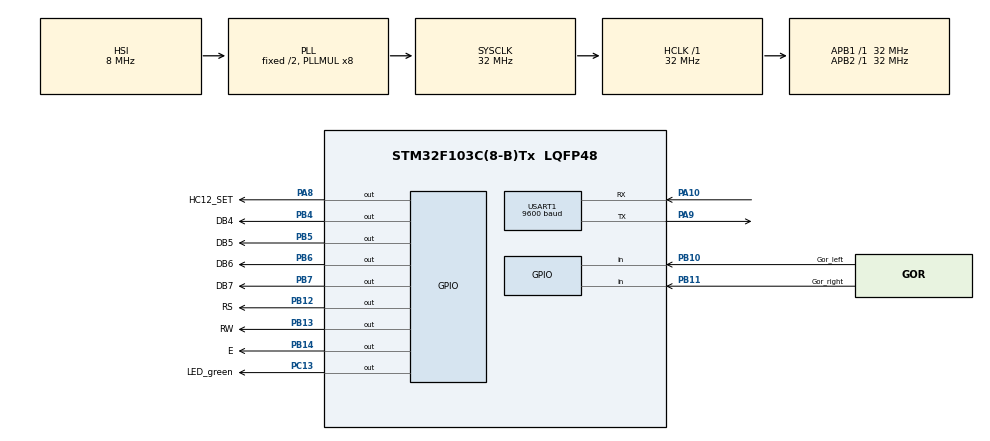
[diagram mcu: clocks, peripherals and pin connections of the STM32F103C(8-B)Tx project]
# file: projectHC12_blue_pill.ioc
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FREERTOS.Tasks01=defaultTask,0,128,StartDefaultTask,Default,NULL,Dynamic,NULL,NULL
Mcu.Family=STM32F1
Mcu.Name=STM32F103C(8-B)Tx
Mcu.Package=LQFP48
NVIC.PriorityGroup=NVIC_PRIORITYGROUP_4
NVIC.TIM4_IRQn=true\:0\:0\:false\:false\:true\:false\:false\:true
NVIC.TimeBase=TIM4_IRQn
NVIC.TimeBaseIP=TIM4
NVIC.USART1_IRQn=true\:5\:0\:false\:false\:true\:true\:true\:true
PA10.Mode=Asynchronous
PA10.Signal=USART1_RX
PA13.Mode=Serial_Wire
PA13.Signal=SYS_JTMS-SWDIO
PA14.Mode=Serial_Wire
PA14.Signal=SYS_JTCK-SWCLK
PA8.GPIO_Label=HC12_SET
PA8.PinState=GPIO_PIN_SET
PA8.Signal=GPIO_Output
PA9.Mode=Asynchronous
PA9.Signal=USART1_TX
PB10.GPIO_Label=Gor_left
PB10.GPIO_PuPd=GPIO_PULLDOWN
PB10.Signal=GPIO_Input
PB11.GPIO_Label=Gor_right
PB11.GPIO_PuPd=GPIO_PULLDOWN
PB11.Signal=GPIO_Input
PB12.GPIO_Label=RS
PB12.Signal=GPIO_Output
PB13.GPIO_Label=RW
PB13.Signal=GPIO_Output
PB14.GPIO_Label=E
PB14.Signal=GPIO_Output
PB4.GPIO_Label=DB4
PB4.Signal=GPIO_Output
PB5.GPIO_Label=DB5
PB5.Signal=GPIO_Output
PB6.GPIO_Label=DB6
PB6.Signal=GPIO_Output
PB7.GPIO_Label=DB7
PB7.Signal=GPIO_Output
PC13-TAMPER-RTC.GPIO_Label=LED_green
PC13-TAMPER-RTC.Signal=GPIO_Output
ProjectManager.HeapSize=0x200
ProjectManager.StackSize=0x400
ProjectManager.TargetToolchain=MDK-ARM V5.27
RCC.AHBFreq_Value=32000000
RCC.APB1Freq_Value=32000000
RCC.APB1TimFreq_Value=32000000
RCC.APB2Freq_Value=32000000
RCC.APB2TimFreq_Value=32000000
RCC.HCLKFreq_Value=32000000
RCC.PLLMUL=RCC_PLL_MUL8
RCC.SYSCLKFreq_VALUE=32000000
RCC.SYSCLKSource=RCC_SYSCLKSOURCE_PLLCLK
RCC.USBFreq_Value=32000000
USART1.BaudRate=9600
USART1.VirtualMode=VM_ASYNC
VP_FREERTOS_VS_CMSIS_V1.Mode=CMSIS_V1
VP_SYS_VS_tim4.Mode=TIM4
VP_TIM2_VS_ClockSourceINT.Mode=Internal
VP_TIM2_VS_OPM.Mode=OPM_bit
board=custom

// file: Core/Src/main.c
/* USER CODE BEGIN Header */
/**
  ******************************************************************************
  * @file           : main.c
  * @brief          : Main program body
  ******************************************************************************
  * @attention
  *
  * <h2><center>&copy; Copyright (c) 2020 STMicroelectronics.
  * All rights reserved.</center></h2>
  *
  * This software component is licensed by ST under Ultimate Liberty license
  * SLA0044, the "License"; You may not use this file except in compliance with
  * the License. You may obtain a copy of the License at:
  *                             www.st.com/SLA0044
  *
  ******************************************************************************
  */
/* USER CODE END Header */

#include "main.h"
#include "cmsis_os.h"

TIM_HandleTypeDef htim2;

UART_HandleTypeDef huart1;

osThreadId defaultTaskHandle;

void SystemClock_Config(void);
static void MX_GPIO_Init(void);
static void MX_TIM2_Init(void);
static void MX_USART1_UART_Init(void);
void StartDefaultTask(void const * argument);

/* USER CODE BEGIN PFP */

void	signal(uint8_t freq);

/* USER CODE END PFP */

int main(void)
{

  /* MCU Configuration--------------------------------------------------------*/

  /* Reset of all peripherals, Initializes the Flash interface and the Systick. */
  HAL_Init();

  /* Configure the system clock */
  SystemClock_Config();

  /* Initialize all configured peripherals */
  MX_GPIO_Init();
  MX_TIM2_Init();
  MX_USART1_UART_Init();
  /* USER CODE BEGIN 2 */

	delay_ms_init();

	#ifdef	USING_LCD
	HD44780_init();

	USART1->CR1 |= USART_CR1_RXNEIE;
	#endif	//USING_LCD

		//doesn't working
//	WEH1602_RS(RESET_LCD);
//	WEH1602_DB7(RESET_LCD);		//cursor and display shift
//	WEH1602_DB6(RESET_LCD);
//	WEH1602_DB5(RESET_LCD);
//	WEH1602_DB4(SET_LCD);
//	WEH1602_E_strobe();
//	WEH1602_DB7(SET_LCD);
//	WEH1602_DB6(SET_LCD);
//	WEH1602_DB5(RESET_LCD);
//	WEH1602_DB4(RESET_LCD);
//	WEH1602_E_strobe();
//	//WEH1602_RS(SET_LCD);
//	delay_ms(10);

		//signal init
	//SystemCoreClockUpdate();
//	TIM3->DIER |= TIM_DIER_UIE;
//	TIM3->PSC = SystemCoreClock/1000 - 1;
//	signal(1);

/*
*
*
*
*					Todo's
*
*
*			Turn off USART interrupt (now its turned on)
*
*
*/

  /* USER CODE END 2 */

  /* Create the thread(s) */
  /* definition and creation of defaultTask */
  osThreadDef(defaultTask, StartDefaultTask, osPriorityNormal, 0, 128);
  defaultTaskHandle = osThreadCreate(osThread(defaultTask), NULL);

  /* Start scheduler */
  osKernelStart();

  /* We should never get here as control is now taken by the scheduler */

  /* Infinite loop */
  while (1)
  {

  }
}

void SystemClock_Config(void)
{
  RCC_OscInitTypeDef RCC_OscInitStruct = {0};
  RCC_ClkInitTypeDef RCC_ClkInitStruct = {0};

  /** Initializes the CPU, AHB and APB busses clocks
  */
  RCC_OscInitStruct.OscillatorType = RCC_OSCILLATORTYPE_HSI;
  RCC_OscInitStruct.HSIState = RCC_HSI_ON;
  RCC_OscInitStruct.HSICalibrationValue = RCC_HSICALIBRATION_DEFAULT;
  RCC_OscInitStruct.PLL.PLLState = RCC_PLL_ON;
  RCC_OscInitStruct.PLL.PLLSource = RCC_PLLSOURCE_HSI_DIV2;
  RCC_OscInitStruct.PLL.PLLMUL = RCC_PLL_MUL8;
  if (HAL_RCC_OscConfig(&RCC_OscInitStruct) != HAL_OK)
  {
    Error_Handler();
  }
  /** Initializes the CPU, AHB and APB busses clocks
  */
  RCC_ClkInitStruct.ClockType = RCC_CLOCKTYPE_HCLK|RCC_CLOCKTYPE_SYSCLK
                              |RCC_CLOCKTYPE_PCLK1|RCC_CLOCKTYPE_PCLK2;
  RCC_ClkInitStruct.SYSCLKSource = RCC_SYSCLKSOURCE_PLLCLK;
  RCC_ClkInitStruct.AHBCLKDivider = RCC_SYSCLK_DIV1;
  RCC_ClkInitStruct.APB1CLKDivider = RCC_HCLK_DIV1;
  RCC_ClkInitStruct.APB2CLKDivider = RCC_HCLK_DIV1;

  if (HAL_RCC_ClockConfig(&RCC_ClkInitStruct, FLASH_LATENCY_1) != HAL_OK)
  {
    Error_Handler();
  }
}

static void MX_TIM2_Init(void)
{

  TIM_ClockConfigTypeDef sClockSourceConfig = {0};
  TIM_MasterConfigTypeDef sMasterConfig = {0};

  htim2.Instance = TIM2;
  htim2.Init.Prescaler = 0;
  htim2.Init.CounterMode = TIM_COUNTERMODE_UP;
  htim2.Init.Period = 0;
  htim2.Init.ClockDivision = TIM_CLOCKDIVISION_DIV1;
  htim2.Init.AutoReloadPreload = TIM_AUTORELOAD_PRELOAD_DISABLE;
  if (HAL_TIM_Base_Init(&htim2) != HAL_OK)
  {
    Error_Handler();
  }
  sClockSourceConfig.ClockSource = TIM_CLOCKSOURCE_INTERNAL;
  if (HAL_TIM_ConfigClockSource(&htim2, &sClockSourceConfig) != HAL_OK)
  {
    Error_Handler();
  }
  if (HAL_TIM_OnePulse_Init(&htim2, TIM_OPMODE_SINGLE) != HAL_OK)
  {
    Error_Handler();
  }
  sMasterConfig.MasterOutputTrigger = TIM_TRGO_RESET;
  sMasterConfig.MasterSlaveMode = TIM_MASTERSLAVEMODE_DISABLE;
  if (HAL_TIMEx_MasterConfigSynchronization(&htim2, &sMasterConfig) != HAL_OK)
  {
    Error_Handler();
  }

}

static void MX_USART1_UART_Init(void)
{

  huart1.Instance = USART1;
  huart1.Init.BaudRate = 9600;
  huart1.Init.WordLength = UART_WORDLENGTH_8B;
  huart1.Init.StopBits = UART_STOPBITS_1;
  huart1.Init.Parity = UART_PARITY_NONE;
  huart1.Init.Mode = UART_MODE_TX_RX;
  huart1.Init.HwFlowCtl = UART_HWCONTROL_NONE;
  huart1.Init.OverSampling = UART_OVERSAMPLING_16;
  if (HAL_UART_Init(&huart1) != HAL_OK)
  {
    Error_Handler();
  }

}

static void MX_GPIO_Init(void)
{
  GPIO_InitTypeDef GPIO_InitStruct = {0};

  /* GPIO Ports Clock Enable */
  __HAL_RCC_GPIOC_CLK_ENABLE();
  __HAL_RCC_GPIOB_CLK_ENABLE();
  __HAL_RCC_GPIOA_CLK_ENABLE();

  /*Configure GPIO pin Output Level */
  HAL_GPIO_WritePin(LED_green_GPIO_Port, LED_green_Pin, GPIO_PIN_RESET);

  /*Configure GPIO pin Output Level */
  HAL_GPIO_WritePin(GPIOB, RS_Pin|RW_Pin|E_Pin|DB4_Pin
                          |DB5_Pin|DB6_Pin|DB7_Pin, GPIO_PIN_RESET);

  /*Configure GPIO pin Output Level */
  HAL_GPIO_WritePin(HC12_SET_GPIO_Port, HC12_SET_Pin, GPIO_PIN_SET);

  /*Configure GPIO pin : LED_green_Pin */
  GPIO_InitStruct.Pin = LED_green_Pin;
  GPIO_InitStruct.Mode = GPIO_MODE_OUTPUT_PP;
  GPIO_InitStruct.Pull = GPIO_NOPULL;
  GPIO_InitStruct.Speed = GPIO_SPEED_FREQ_LOW;
  HAL_GPIO_Init(LED_green_GPIO_Port, &GPIO_InitStruct);

  /*Configure GPIO pins : Gor_left_Pin Gor_right_Pin */
  GPIO_InitStruct.Pin = Gor_left_Pin|Gor_right_Pin;
  GPIO_InitStruct.Mode = GPIO_MODE_INPUT;
  GPIO_InitStruct.Pull = GPIO_PULLDOWN;
  HAL_GPIO_Init(GPIOB, &GPIO_InitStruct);

  /*Configure GPIO pins : RS_Pin RW_Pin E_Pin DB4_Pin
                           DB5_Pin DB6_Pin DB7_Pin */
  GPIO_InitStruct.Pin = RS_Pin|RW_Pin|E_Pin|DB4_Pin
                          |DB5_Pin|DB6_Pin|DB7_Pin;
  GPIO_InitStruct.Mode = GPIO_MODE_OUTPUT_PP;
  GPIO_InitStruct.Pull = GPIO_NOPULL;
  GPIO_InitStruct.Speed = GPIO_SPEED_FREQ_LOW;
  HAL_GPIO_Init(GPIOB, &GPIO_InitStruct);

  /*Configure GPIO pin : HC12_SET_Pin */
  GPIO_InitStruct.Pin = HC12_SET_Pin;
  GPIO_InitStruct.Mode = GPIO_MODE_OUTPUT_PP;
  GPIO_InitStruct.Pull = GPIO_NOPULL;
  GPIO_InitStruct.Speed = GPIO_SPEED_FREQ_LOW;
  HAL_GPIO_Init(HC12_SET_GPIO_Port, &GPIO_InitStruct);

}

/* USER CODE BEGIN 4 */

void	signal(uint8_t freq)
{
	TIM3->ARR = 1000/freq/2;
	TIM3->CR1 |= TIM_CR1_CEN;
}

/* USER CODE END 4 */

void StartDefaultTask(void const * argument)
{
  /* USER CODE BEGIN 5 */

	//uint8_t	counter=0;

  for(;;)
  {
		HAL_GPIO_TogglePin(LED_green_GPIO_Port, LED_green_Pin);
		osDelay(1000);

		if( HAL_GPIO_ReadPin(Gor_left_GPIO_Port, Gor_left_Pin) )
		{
			while(!(USART1->SR&USART_SR_TXE))
				;
			USART1->DR = 'L';
			while(!(USART1->SR&USART_SR_TXE))
				;
		}
		else
		{
			while(!(USART1->SR&USART_SR_TXE))
				;
			USART1->DR = '1';
			while(!(USART1->SR&USART_SR_TXE))
				;
		}

		HAL_GPIO_TogglePin(LED_green_GPIO_Port, LED_green_Pin);
		osDelay(1000);

		if( HAL_GPIO_ReadPin(Gor_right_GPIO_Port, Gor_right_Pin) )
		{
			while(!(USART1->SR&USART_SR_TXE))
				;
			USART1->DR = 'R';
			while(!(USART1->SR&USART_SR_TXE))
				;
		}
		else
		{
			while(!(USART1->SR&USART_SR_TXE))
				;
			USART1->DR = '2';
			while(!(USART1->SR&USART_SR_TXE))
				;
		}

//		while(!(USART1->SR&USART_SR_TXE))
//			;
//		USART1->DR = counter/100+48;
//		while(!(USART1->SR&USART_SR_TXE))
//			;
//		USART1->DR = counter%100/10+48;
//		while(!(USART1->SR&USART_SR_TXE))
//			;
//		USART1->DR = counter%100%10+48;
//		while(!(USART1->SR&USART_SR_TXE))
//			;
//		USART1->DR = '\n';
//		while(!(USART1->SR&USART_SR_TXE))
//			;
//		USART1->DR = '\r';
//		while(!(USART1->SR&USART_SR_TXE))
//			;
//		counter += 1;

  }

  /* USER CODE END 5 */
}

void HAL_TIM_PeriodElapsedCallback(TIM_HandleTypeDef *htim)
{
  if (htim->Instance == TIM4) {
    HAL_IncTick();
  }
}

void Error_Handler(void)
{
}

/************************ (C) COPYRIGHT STMicroelectronics *****END OF FILE****/
